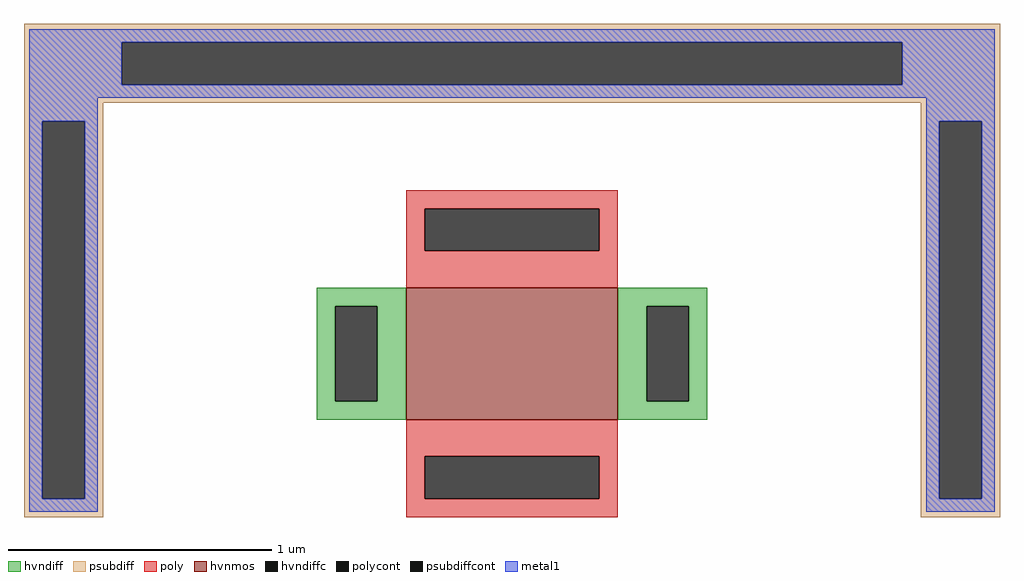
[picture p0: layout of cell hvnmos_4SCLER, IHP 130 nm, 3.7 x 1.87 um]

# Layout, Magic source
magic
tech ihp-sg13g2
<< hvnmos >>
rect -40 -25 40 25
<< hvndiff >>
rect -74 18 -40 25
rect -74 -18 -67 18
rect -51 -18 -40 18
rect -74 -25 -40 -18
rect 40 18 74 25
rect 40 -18 51 18
rect 67 -18 74 18
rect 40 -25 74 -18
<< hvndiffc >>
rect -67 -18 -51 18
rect 51 -18 67 18
<< psubdiff >>
rect -185 118 185 125
rect -185 102 -148 118
rect 148 102 185 118
rect -185 95 185 102
rect -185 88 -155 95
rect -185 -55 -178 88
rect -162 -55 -155 88
rect 155 88 185 95
rect -185 -62 -155 -55
rect 155 -55 162 88
rect 178 -55 185 88
rect 155 -62 185 -55
<< psubdiffcont >>
rect -148 102 148 118
rect -178 -55 -162 88
rect 162 -55 178 88
<< poly >>
rect -40 55 40 62
rect -40 39 -33 55
rect 33 39 40 55
rect -40 25 40 39
rect -40 -39 40 -25
rect -40 -55 -33 -39
rect 33 -55 40 -39
rect -40 -62 40 -55
<< polycont >>
rect -33 39 33 55
rect -33 -55 33 -39
<< metal1 >>
rect -183 118 183 123
rect -183 102 -148 118
rect 148 102 183 118
rect -183 97 183 102
rect -183 88 -157 97
rect -183 -55 -178 88
rect -162 -55 -157 88
rect 157 88 183 97
rect 157 -55 162 88
rect 178 -55 183 88
rect -183 -60 -157 -55
rect 157 -60 183 -55
<< properties >>
string gencell hvnmos
string library sg13g2_devstdin
string parameters w 0.5 l 0.8 nf 1 nx 1 dx 0.21 ny 1 dy 0.18 wmin 0.50 lmin 0.50 class mosfet gcontcov_t 100 gcontcov_b 100 dcontcov_l 100 dcontcov_r 100 guard_distf 1.5 glc 1 grc 1 gtc 1 gbc 0
<< end >>
